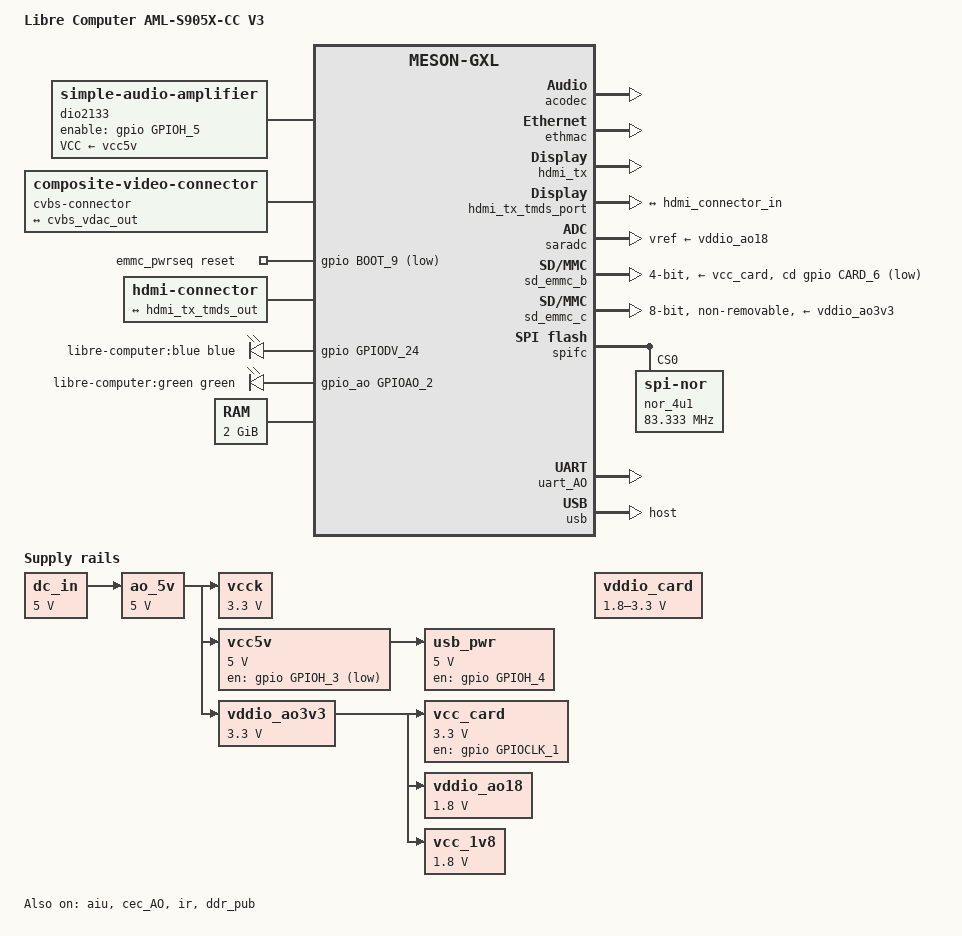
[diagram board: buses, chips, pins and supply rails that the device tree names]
// SPDX-License-Identifier: (GPL-2.0+ OR MIT)
/*
 * Copyright (c) 2020 BayLibre, SAS.
 * Author: Jerome Brunet <jbrunet@baylibre.com>
 * Copyright (c) 2026 Libre Computer
 */

/*
 * AML-S905X-CC-V3 board body. The board boots the libre firmware chain only;
 * its one leaf is meson-gxl-s905x-libretech-cc-v3.dts. The firmware
 * reservations are the leaf's, never this file's.
 *
 * The V2 body (meson-gxl-s905x-libretech-cc-v2.dtsi) with the V3's hardware:
 * the SoC's OTG port on the Micro-USB, all four USB-A ports on the hub behind
 * a power switch, the AV jack (composite video and analog audio) back, and
 * the eMMC soldered.
 *
 * Storage builds. A board carries the SPI NOR or the eMMC, never both, and
 * this one tree describes both: &spifc muxes BOOT_11/12/13/15 (nor_pins) and
 * &sd_emmc_c BOOT_0..10 (emmc_pins) at HS200, disjoint pin sets, so the part
 * a build does not carry only fails its probe. BOOT_15 is also the eMMC data
 * strobe; claiming it (emmc_ds_pins, HS400) would take the NOR chip select,
 * and is the step at which the bootloader has to pick one build.
 *
 * Not described: the hub reset (BOOT_14, active high through an inverter);
 * its pull-down keeps the hub running with no software.
 */

#include <dt-bindings/input/input.h>
#include <dt-bindings/leds/common.h>
#include <dt-bindings/sound/meson-aiu.h>

#include "meson-gxl-s905x.dtsi"

/ {
	compatible = "libretech,aml-s905x-cc-v3", "amlogic,s905x",
		     "amlogic,meson-gxl";
	model = "Libre Computer AML-S905X-CC V3";

	aliases {
		serial0 = &uart_AO;
		ethernet0 = &ethmac;
		spi0 = &spifc;
	};

	chosen {
		stdout-path = "serial0:115200n8";
	};

	/* AU2, the line driver of the AV jack's audio; high = enabled */
	dio2133: analog-amplifier {
		compatible = "simple-audio-amplifier";
		sound-name-prefix = "AU2";
		VCC-supply = <&vcc5v>;
		enable-gpios = <&gpio GPIOH_5 GPIO_ACTIVE_HIGH>;
	};

	cvbs-connector {
		compatible = "composite-video-connector";

		port {
			cvbs_connector_in: endpoint {
				remote-endpoint = <&cvbs_vdac_out>;
			};
		};
	};

	emmc_pwrseq: emmc-pwrseq {
		compatible = "mmc-pwrseq-emmc";
		reset-gpios = <&gpio BOOT_9 GPIO_ACTIVE_LOW>;
	};

	hdmi-connector {
		compatible = "hdmi-connector";
		type = "a";

		port {
			hdmi_connector_in: endpoint {
				remote-endpoint = <&hdmi_tx_tmds_out>;
			};
		};
	};

	leds {
		compatible = "gpio-leds";

		/*
		 * Wired as on the V2 layout, so the V2 DT's colours; which GPIO
		 * lights which colour is still to be seen on a board.
		 */

		/* load: activity */
		led-blue {
			label = "libre-computer:blue";
			color = <LED_COLOR_ID_BLUE>;
			function = LED_FUNCTION_ACTIVITY;
			gpios = <&gpio GPIODV_24 GPIO_ACTIVE_HIGH>;
			linux,default-trigger = "activity";
		};

		/* ready: on once the bootloader has loaded; the OS heartbeat */
		led-green {
			label = "libre-computer:green";
			color = <LED_COLOR_ID_GREEN>;
			function = LED_FUNCTION_STATUS;
			gpios = <&gpio_ao GPIOAO_2 GPIO_ACTIVE_HIGH>;
			linux,default-trigger = "heartbeat";
			default-state = "on";
			panic-indicator;
		};
	};

	memory@0 {
		device_type = "memory";
		reg = <0x0 0x0 0x0 0x80000000>;
	};

	ao_5v: regulator-ao-5v {
		compatible = "regulator-fixed";
		regulator-name = "AO_5V";
		regulator-min-microvolt = <5000000>;
		regulator-max-microvolt = <5000000>;
		vin-supply = <&dc_in>;
		regulator-always-on;
	};

	dc_in: regulator-dc-in {
		compatible = "regulator-fixed";
		regulator-name = "DC_IN";
		regulator-min-microvolt = <5000000>;
		regulator-max-microvolt = <5000000>;
		regulator-always-on;
	};

	vcck: regulator-vcck {
		compatible = "regulator-fixed";
		regulator-name = "VCCK";
		regulator-min-microvolt = <3300000>;
		regulator-max-microvolt = <3300000>;
		vin-supply = <&ao_5v>;
		regulator-always-on;
	};

	vcc_card: regulator-vcc-card {
		compatible = "regulator-fixed";
		regulator-name = "VCC_CARD";
		regulator-min-microvolt = <3300000>;
		regulator-max-microvolt = <3300000>;
		vin-supply = <&vddio_ao3v3>;

		gpio = <&gpio GPIOCLK_1 GPIO_ACTIVE_HIGH>;
		enable-active-high;
	};

	/* header 5 V, HDMI 5 V, the audio driver and the USB-A switch's input */
	vcc5v: regulator-vcc5v {
		compatible = "regulator-fixed";
		regulator-name = "VCC5V";
		regulator-min-microvolt = <5000000>;
		regulator-max-microvolt = <5000000>;
		vin-supply = <&ao_5v>;

		gpio = <&gpio GPIOH_3 GPIO_OPEN_DRAIN>;
	};

	/*
	 * The four USB-A ports' VBUS. A pull-up holds the switch on, so it is
	 * only ever driven to power-cycle the ports.
	 */
	usb_pwr: regulator-usb-pwr {
		compatible = "regulator-fixed";
		regulator-name = "USB_PWR";
		regulator-min-microvolt = <5000000>;
		regulator-max-microvolt = <5000000>;
		vin-supply = <&vcc5v>;

		gpio = <&gpio GPIOH_4 GPIO_ACTIVE_HIGH>;
		enable-active-high;
		regulator-boot-on;
	};

	vddio_ao3v3: regulator-vddio-ao3v3 {
		compatible = "regulator-fixed";
		regulator-name = "VDDIO_AO3V3";
		regulator-min-microvolt = <3300000>;
		regulator-max-microvolt = <3300000>;
		vin-supply = <&ao_5v>;
		regulator-always-on;
	};

	vddio_card: regulator-vddio-card {
		compatible = "regulator-gpio";
		regulator-name = "VDDIO_CARD";
		regulator-min-microvolt = <1800000>;
		regulator-max-microvolt = <3300000>;

		gpios = <&gpio_ao GPIOAO_3 GPIO_ACTIVE_HIGH>;
		gpios-states = <0>;

		states = <3300000 0>,
			 <1800000 1>;

		regulator-settling-time-up-us = <200>;
		regulator-settling-time-down-us = <50000>;
	};

	vddio_ao18: regulator-vddio-ao18 {
		compatible = "regulator-fixed";
		regulator-name = "VDDIO_AO18";
		regulator-min-microvolt = <1800000>;
		regulator-max-microvolt = <1800000>;
		vin-supply = <&vddio_ao3v3>;
		regulator-always-on;
	};

	vcc_1v8: regulator-vcc-1v8 {
		compatible = "regulator-fixed";
		regulator-name = "VCC 1V8";
		regulator-min-microvolt = <1800000>;
		regulator-max-microvolt = <1800000>;
		vin-supply = <&vddio_ao3v3>;
		regulator-always-on;
	};

	sound {
		compatible = "amlogic,gx-sound-card";
		model = "LIBRETECH-CC-V3";
		audio-aux-devs = <&dio2133>;
		audio-widgets = "Line", "Lineout";
		audio-routing = "AU2 INL", "ACODEC LOLN",
				"AU2 INR", "ACODEC LORN",
				"Lineout", "AU2 OUTL",
				"Lineout", "AU2 OUTR";
		clocks = <&clkc CLKID_MPLL0>,
			 <&clkc CLKID_MPLL1>,
			 <&clkc CLKID_MPLL2>;

		assigned-clocks = <&clkc CLKID_MPLL0>,
				  <&clkc CLKID_MPLL1>,
				  <&clkc CLKID_MPLL2>;
		assigned-clock-parents = <0>, <0>, <0>;
		assigned-clock-rates = <294912000>,
				       <270950400>,
				       <393216000>;

		dai-link-0 {
			sound-dai = <&aiu AIU_CPU CPU_I2S_FIFO>;
		};

		dai-link-1 {
			sound-dai = <&aiu AIU_CPU CPU_I2S_ENCODER>;
			dai-format = "i2s";
			mclk-fs = <256>;

			codec-0 {
				sound-dai = <&aiu AIU_HDMI CTRL_I2S>;
			};

			codec-1 {
				sound-dai = <&aiu AIU_ACODEC CTRL_I2S>;
			};
		};

		dai-link-2 {
			sound-dai = <&aiu AIU_HDMI CTRL_OUT>;

			codec-0 {
				sound-dai = <&hdmi_tx>;
			};
		};

		dai-link-3 {
			sound-dai = <&aiu AIU_ACODEC CTRL_OUT>;

			codec-0 {
				sound-dai = <&acodec>;
			};
		};
	};
};

&acodec {
	AVDD-supply = <&vddio_ao18>;
	status = "okay";
};

&aiu {
	status = "okay";
};

&cec_AO {
	status = "okay";
	pinctrl-0 = <&ao_cec_pins>;
	pinctrl-names = "default";
	hdmi-phandle = <&hdmi_tx>;
};

&cvbs_vdac_port {
	cvbs_vdac_out: endpoint {
		remote-endpoint = <&cvbs_connector_in>;
	};
};

&ethmac {
	status = "okay";
};

&internal_phy {
	pinctrl-0 = <&eth_link_led_pins>, <&eth_act_led_pins>;
	pinctrl-names = "default";
};

&ir {
	status = "okay";
	pinctrl-0 = <&remote_input_ao_pins>;
	pinctrl-names = "default";
};

&hdmi_tx {
	status = "okay";
	pinctrl-0 = <&hdmi_hpd_pins>, <&hdmi_i2c_pins>;
	hdmi-supply = <&vcc5v>;
	pinctrl-names = "default";
};

&hdmi_tx_tmds_port {
	hdmi_tx_tmds_out: endpoint {
		remote-endpoint = <&hdmi_connector_in>;
	};
};

&saradc {
	status = "okay";
	vref-supply = <&vddio_ao18>;
};

/* SD card */
&sd_emmc_b {
	pinctrl-0 = <&sdcard_pins>;
	pinctrl-1 = <&sdcard_clk_gate_pins>;
	pinctrl-names = "default", "clk-gate";

	bus-width = <4>;
	cap-sd-highspeed;
	sd-uhs-sdr50;
	sd-uhs-ddr50;
	sd-uhs-sdr104;
	max-frequency = <166666667>;
	/*
	 * Upstream-safe ceiling is SDR104 @ 166 MHz above; our kernel's CRC
	 * clock-ladder (reduced-clock tuning retry + SDR104 clock-step) lets it
	 * attempt 200 MHz and step a marginal card back down within SDR104.
	 * Downstream-only property -- upstream ignores it and keeps 166.
	 */
	max-frequency-tuned = <200000000>;
	disable-wp;

	cd-gpios = <&gpio CARD_6 GPIO_ACTIVE_LOW>;

	vmmc-supply = <&vcc_card>;
	vqmmc-supply = <&vddio_card>;

	status = "okay";
};

/* eMMC, soldered on the eMMC build; HS200: BOOT_15 stays the NOR's (above) */
&sd_emmc_c {
	pinctrl-0 = <&emmc_pins>;
	pinctrl-1 = <&emmc_clk_gate_pins>;
	pinctrl-names = "default", "clk-gate";

	bus-width = <8>;
	cap-mmc-highspeed;
	mmc-hs200-1_8v;
	max-frequency = <200000000>;
	non-removable;
	disable-wp;

	mmc-pwrseq = <&emmc_pwrseq>;
	vmmc-supply = <&vddio_ao3v3>;
	vqmmc-supply = <&vcc_1v8>;

	status = "okay";
};

/* SPI NOR, on the NOR build */
&spifc {
	status = "okay";
	pinctrl-0 = <&nor_pins>;
	pinctrl-names = "default";

	nor_4u1: flash@0 {
		#address-cells = <1>;
		#size-cells = <1>;
		compatible = "jedec,spi-nor";
		reg = <0>;
		spi-max-frequency = <83333333>;
		/* NOR_D and NOR_Q carry read data; GXL has no IO2/IO3 pins */
		spi-rx-bus-width = <2>;
	};
};

&uart_AO {
	status = "okay";
	pinctrl-0 = <&uart_ao_a_pins>;
	pinctrl-names = "default";
};

/*
 * OTG on the Micro-USB, host like every GXL board here: an OS that wants a
 * gadget switches the role itself. Its VBUS sense is tied to VCC5V, so it
 * always reads present: a gadget sees an unplug only through the link.
 */
&usb {
	status = "okay";
	dr_mode = "host";
};

&usb2_phy0 {
	phy-supply = <&vcc5v>;
};

/* the hub, and behind it the four USB-A ports */
&usb2_phy1 {
	phy-supply = <&usb_pwr>;
};

/ {
	reserved-memory {
		linux,cma {
			/*
			 * 384 MiB: the V2's reasoning. What has to fit is the
			 * largest contiguous run under u-boot's 1 GiB CMA
			 * alloc-ranges ceiling with the kernel image placed
			 * anywhere in it, not a share of RAM.
			 */
			size = <0x0 0x18000000>;
		};
	};
};

/*
 * Open-SC SCMI package, as on the V2: carried disabled, and turned on by the
 * open-chain U-Boot's ft_board_setup() (CONFIG_MESON_GX_LIBRE_SCMI_FIXUP),
 * which also disables /scpi and points the CPUs' clocks and power domains at
 * protocols @14 and @13. The V2 body holds the address map and the protocol
 * ordering rules; nothing here differs.
 */
&cpu_scp_hpri {
	compatible = "arm,scmi-shmem", "amlogic,meson-gxbb-scp-shmem";
};

&cpu_scp_lpri {
	compatible = "arm,scmi-shmem", "amlogic,meson-gxbb-scp-shmem";
};

/ {
	firmware {
		scmi: scmi {
			compatible = "arm,scmi";
			status = "disabled";

			mboxes = <&mailbox 2>, <&mailbox 1>;
			mbox-names = "tx", "rx";
			shmem = <&cpu_scp_hpri>, <&cpu_scp_lpri>;

			#address-cells = <1>;
			#size-cells = <0>;

			/* protocol@14 before protocol@13: see the V2 body */
			scmi_power: protocol@11 {
				reg = <0x11>;
				#power-domain-cells = <1>;
			};

			scmi_clk: protocol@14 {
				reg = <0x14>;
				#clock-cells = <1>;
			};

			scmi_syspower: protocol@12 {
				reg = <0x12>;
			};

			scmi_perf: protocol@13 {
				reg = <0x13>;
				#power-domain-cells = <1>;
			};

			scmi_sensor: protocol@15 {
				reg = <0x15>;
				#thermal-sensor-cells = <1>;
			};
		};
	};

	thermal-zones {
		soc-thermal {
			polling-delay = <1000>;
			polling-delay-passive = <250>;
			thermal-sensors = <&scmi_sensor 2>;

			trips {
				soc_passive: soc-passive {
					temperature = <80000>;
					hysteresis = <2000>;
					type = "passive";
				};

				soc_hot: soc-hot {
					temperature = <90000>;
					hysteresis = <2000>;
					type = "hot";
				};

				soc_crit: soc-crit {
					temperature = <105000>;
					hysteresis = <2000>;
					type = "critical";
				};
			};

			cooling-maps {
				map0 {
					trip = <&soc_passive>;
					cooling-device = <&cpu0 THERMAL_NO_LIMIT THERMAL_NO_LIMIT>,
							 <&cpu1 THERMAL_NO_LIMIT THERMAL_NO_LIMIT>,
							 <&cpu2 THERMAL_NO_LIMIT THERMAL_NO_LIMIT>,
							 <&cpu3 THERMAL_NO_LIMIT THERMAL_NO_LIMIT>;
				};

				map1 {
					trip = <&soc_hot>;
					cooling-device = <&cpu0 THERMAL_NO_LIMIT THERMAL_NO_LIMIT>,
							 <&cpu1 THERMAL_NO_LIMIT THERMAL_NO_LIMIT>,
							 <&cpu2 THERMAL_NO_LIMIT THERMAL_NO_LIMIT>,
							 <&cpu3 THERMAL_NO_LIMIT THERMAL_NO_LIMIT>;
				};

				map_vdec {
					trip = <&soc_hot>;
					cooling-device = <&vdec THERMAL_NO_LIMIT THERMAL_NO_LIMIT>;
				};

				map_ge2d {
					trip = <&soc_hot>;
					cooling-device = <&ge2d THERMAL_NO_LIMIT THERMAL_NO_LIMIT>;
				};
			};
		};
	};
};

/* PUB VT reads verified on Linux, open chain: enable the monitor. */
&ddr_pub {
	status = "okay";
};
